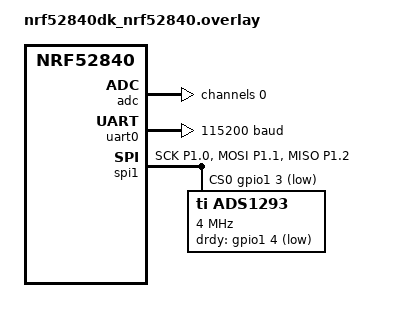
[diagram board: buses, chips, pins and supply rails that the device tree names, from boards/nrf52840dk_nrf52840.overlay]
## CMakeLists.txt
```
#
# Copyright (c) 2018 Nordic Semiconductor
#
# SPDX-License-Identifier: LicenseRef-Nordic-5-Clause
#
cmake_minimum_required(VERSION 3.20.0)

find_package(Zephyr REQUIRED HINTS $ENV{ZEPHYR_BASE})
project(NONE)

# NORDIC SDK APP START
target_sources(app PRIVATE
  src/main.c
  src/stream.c
  src/adc_sample.c
  src/ads1293.c
)

# NORDIC SDK APP END
```

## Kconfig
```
#
# Copyright (c) 2018 Nordic Semiconductor
#
# SPDX-License-Identifier: LicenseRef-Nordic-5-Clause
#

source "Kconfig.zephyr"

menu "Nordic UART BLE GATT service sample"

config BT_NUS_THREAD_STACK_SIZE
	int "Thread stack size"
	default 1024
	help
	  Stack size used in each of the two threads

config BT_NUS_UART_BUFFER_SIZE
	int "UART payload buffer element size"
	default 40
	help
	  Size of the payload buffer in each RX and TX FIFO element

config BT_NUS_SECURITY_ENABLED
	bool "Security"
	default y
	select BT_SMP
	help
	  Enable Bluetooth LE security for the UART service

config BT_NUS_UART_RX_WAIT_TIME
	int "Timeout for UART RX complete event"
	default 50000
	help
	  Wait for RX complete event time in microseconds

# SETTINGS/ZMS/NVS are upstream Zephyr symbols: enable via prj.conf, not here.


config WALKEEG_USE_ADS1293
	bool "Use TI ADS1293 3-channel ECG AFE (SPI) instead of AD8232"
	default y
	help
	  Streams 3 ECG leads (Lead I/II/III, 24-bit) from the TI
	  ADS1293 over SPI1. ODR is selected at runtime and mapped to the
	  nearest hardware rate (533/1067/2133/4267 sps). The AD8232 SAADC
	  path stays compiled in but is not sampled. Requires the ads1293
	  SPI node in the board overlay (already present for nrf52840dk).
	  Set to n to go back to AD8232.

config WALKEEG_DUAL_FRONTEND
	bool "Run AD8232 (SAADC) and ADS1293 (SPI) at the same time"
	depends on WALKEEG_USE_ADS1293
	default n
	help
	  Both front-ends are plugged into the same board:
	    frame CH0     = AD8232 OUT via SAADC (AIN0 / P0.02)
	    frame CH1..CH2 = ADS1293 ECG channel 1 and 2
	  The AD8232 runs at the runtime stream rate (SET_RATE); the ADS1293
	  is programmed to the nearest ODR (533/1067/2133/4267) and its samples
	  are held between DRDY events, so CH1/CH2 step at the ADS1293 ODR.

endmenu
```

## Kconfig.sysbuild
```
#
# Copyright (c) 2023 Nordic Semiconductor
#
# SPDX-License-Identifier: LicenseRef-Nordic-5-Clause
#

config PARTITION_MANAGER
	default y if BOARD_THINGY53

config MERGED_HEX_FILES
	bool
	default y if !SOC_SERIES_NRF54H

config NRF_DEFAULT_IPC_RADIO
	default y

config NETCORE_IPC_RADIO_BT_HCI_IPC
	default y

source "share/sysbuild/Kconfig"
```

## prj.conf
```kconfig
#
# Copyright (c) 2018 Nordic Semiconductor
#
# SPDX-License-Identifier: LicenseRef-Nordic-5-Clause
#

# Enable the UART driver
CONFIG_UART_ASYNC_API=y
CONFIG_UART_ASYNC_ADAPTER=y
CONFIG_UART_INTERRUPT_DRIVEN=y
CONFIG_SERIAL=y
CONFIG_UART_LINE_CTRL=n

# ADC for AD8232 ECG sampling
CONFIG_ADC=y

# SPI for TI ADS1293 ECG AFE (optional; used when CONFIG_WALKEEG_USE_ADS1293=y)
CONFIG_SPI=y

CONFIG_GPIO=y

# NUS uses uart0 for BLE bridge; disable console on same UART
CONFIG_CONSOLE=n
CONFIG_UART_CONSOLE=n

# No pairing required for NUS during bring-up / streaming
# (NCS v3.2.x has no BT_NUS_SECURITY_ENABLED; auth option is BT_NUS_AUTHEN)

# Larger heap for streaming buffers
CONFIG_HEAP_MEM_POOL_SIZE=16384

CONFIG_BT=y
CONFIG_BT_PERIPHERAL=y
CONFIG_BT_DEVICE_NAME="WalkEEG"
CONFIG_BT_MAX_CONN=1
CONFIG_BT_MAX_PAIRED=1

# Enable the NUS service
CONFIG_BT_NUS=y

# Allow peripheral to initiate ATT MTU exchange
CONFIG_BT_GATT_CLIENT=y

# Enable bonding / settings
CONFIG_BT_SETTINGS=y
CONFIG_SETTINGS=y
CONFIG_FLASH=y
CONFIG_FLASH_PAGE_LAYOUT=y
CONFIG_FLASH_MAP=y

# DK LED and Buttons
CONFIG_DK_LIBRARY=y

CONFIG_SYSTEM_WORKQUEUE_STACK_SIZE=4096

# Logger via RTT
CONFIG_LOG=y
# CONFIG_LOG_MODE_IMMEDIATE=y
CONFIG_USE_SEGGER_RTT=y
CONFIG_LOG_BACKEND_RTT=y
CONFIG_LOG_BACKEND_UART=n
CONFIG_LOG_PRINTK=n
CONFIG_LOG_DEFAULT_LEVEL=3

# --- WalkEEG high-throughput BLE ---
# ATT payload ~495 with L2CAP MTU 498; enough for N=20 frames (326 B)
CONFIG_BT_L2CAP_TX_MTU=498
CONFIG_BT_BUF_ACL_RX_SIZE=502
CONFIG_BT_BUF_ACL_TX_SIZE=502
CONFIG_BT_BUF_ACL_TX_COUNT=10
CONFIG_BT_BUF_EVT_RX_COUNT=12
CONFIG_BT_CTLR_DATA_LENGTH_MAX=251
CONFIG_BT_USER_DATA_LEN_UPDATE=y
CONFIG_BT_PHY_UPDATE=y
CONFIG_BT_USER_PHY_UPDATE=y
CONFIG_BT_CTLR_PHY_2M=y
CONFIG_BT_AUTO_PHY_UPDATE=y
# CONFIG_BT_AUTO_PHY_PERIPHERAL_2M is not available in NCS v3.2.x
CONFIG_BT_GAP_PERIPHERAL_PREF_PARAMS=y

# Prefer short connection interval (units of 1.25 ms: 6=7.5ms, 12=15ms)
CONFIG_BT_PERIPHERAL_PREF_MIN_INT=6
CONFIG_BT_PERIPHERAL_PREF_MAX_INT=12
CONFIG_BT_PERIPHERAL_PREF_LATENCY=0
CONFIG_BT_PERIPHERAL_PREF_TIMEOUT=400

# Extra TX buffers for Notify burst
CONFIG_BT_CONN_TX_MAX=10
CONFIG_BT_L2CAP_TX_BUF_COUNT=10

# 500 Hz stream: 2 ms period = 2 ticks; avoid coarse default tick
CONFIG_SYS_CLOCK_TICKS_PER_SEC=8000
CONFIG_SETTINGS=y

# Dual front-end: CH0 = AD8232 (SAADC), CH1/CH2 = ADS1293 (SPI1)
CONFIG_WALKEEG_USE_ADS1293=y
CONFIG_WALKEEG_DUAL_FRONTEND=n

# BLE stacks (default long-WQ stack overflowed after advertising)
CONFIG_BT_LONG_WQ_STACK_SIZE=4096
CONFIG_BT_RX_STACK_SIZE=4096
CONFIG_LOG_BUFFER_SIZE=4096
CONFIG_SEGGER_RTT_BUFFER_SIZE_UP=4096
```

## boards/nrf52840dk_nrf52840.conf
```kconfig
# No DTR wait; USB-TTL on P0.12/P0.13
CONFIG_UART_LINE_CTRL=n
```

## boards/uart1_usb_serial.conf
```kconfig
# Use external USB-serial on Arduino D0/D1 instead of J-Link COM6
CONFIG_UART_LINE_CTRL=n
```

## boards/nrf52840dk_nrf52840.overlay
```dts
/*
 * NUS physical UART moved to free pins on the P12 header (avoiding P0.06/P0.08 commonly used by the main board/module)
 *
 *   P12 Pin25 = P0.13 = UART TX (transmitted by the 52840)
 *   P12 Pin26 = P0.12 = UART RX (received by the 52840)
 *
 * USB-TTL crossover wiring:
 *   USB-TTL RX  -> P0.13 (TX)
 *   USB-TTL TX  -> P0.12 (RX)
 *   USB-TTL GND -> GND (common ground is mandatory)
 *   Baud rate 115200 8N1
 *
 * Notes:
 * - Phone <-> 52840 goes over Bluetooth NUS (wireless) and does not use these UART pins
 * - PC serial terminal <-> 52840 goes over USB-TTL + P0.12/P0.13
 * - The main board's built-in COM port (J-Link CDC / CH340) still uses the default pins and cannot see this UART
 *
 * On the official DK, P0.13=LED1 and P0.12=Button2; they must be disabled so they do not contend with the UART pins.
 */

/ {
	chosen {
		nordic,nus-uart = &uart0;
	};
};

/* AD8232 ECG channel: AIN0 = P0.02 (P13 pin 8), gain 1/6 -> 0..3.6 V */
&adc {
	#address-cells = <1>;
	#size-cells = <0>;

	channel@0 {
		reg = <0>;
		zephyr,gain = "ADC_GAIN_1_6";
		zephyr,reference = "ADC_REF_INTERNAL";
		zephyr,acquisition-time = <ADC_ACQ_TIME_DEFAULT>;
		zephyr,input-positive = <NRF_SAADC_AIN0>; /* P0.02 */
	};
};

&button1 {
	status = "disabled";
};

&led0 {
	status = "disabled";
};

&pinctrl {
	uart0_default: uart0_default {
		group1 {
			psels = <NRF_PSEL(UART_TX, 0, 13)>;
		};
		group2 {
			psels = <NRF_PSEL(UART_RX, 0, 12)>;
			bias-pull-up;
		};
	};

	uart0_sleep: uart0_sleep {
		group1 {
			psels = <NRF_PSEL(UART_TX, 0, 13)>,
				<NRF_PSEL(UART_RX, 0, 12)>;
			low-power-enable;
		};
		/delete-node/ group2;
	};
};

&uart0 {
	status = "okay";
	current-speed = <115200>;
};

/*
 * TI ADS1293 3-channel ECG AFE (SPI1).
 *
 *   SCLK  P1.00  (SPIM1 SCK)      -> ADS1293 SCLK
 *   MOSI  P1.01  (SPIM1 MOSI)     -> ADS1293 SDI
 *   MISO  P1.02  (SPIM1 MISO)     <- ADS1293 SDO
 *   CS    P1.03  (GPIO, act-low)  -> ADS1293 CSB
 *   DRDY  P1.04  (GPIO input)     <- ADS1293 DRDYB (data ready)
 *   RESET P1.05  (GPIO, act-low)  -> ADS1293 RSTB (optional)
 *
 * These pins do NOT overlap the AD8232 interface (P0.02 / P1.13-15)
 * or the UART (P0.12 / P0.13). AD8232 nodes above are left untouched.
 */
&pinctrl {
	ads1293_spi_default: ads1293_spi_default {
		group1 {
			psels = <NRF_PSEL(SPIM_SCK, 1, 0)>,
				<NRF_PSEL(SPIM_MOSI, 1, 1)>,
				<NRF_PSEL(SPIM_MISO, 1, 2)>;
		};
	};

	ads1293_spi_sleep: ads1293_spi_sleep {
		group1 {
			psels = <NRF_PSEL(SPIM_SCK, 1, 0)>,
				<NRF_PSEL(SPIM_MOSI, 1, 1)>,
				<NRF_PSEL(SPIM_MISO, 1, 2)>;
			low-power-enable;
		};
	};
};

&spi1 {
	status = "okay";
	pinctrl-0 = <&ads1293_spi_default>;
	pinctrl-1 = <&ads1293_spi_sleep>;
	pinctrl-names = "default", "sleep";
	/* CSB must be attached to the SPI controller node; this is required by Zephyr's cs-gpios convention */
	cs-gpios = <&gpio1 3 GPIO_ACTIVE_LOW>;

	ads1293: ads1293@0 {
		compatible = "ti,ads1293";
		reg = <0>;
		spi-max-frequency = <4000000>;
		drdy-gpios = <&gpio1 4 GPIO_ACTIVE_LOW>;
		/* CJMCU-1293 has no RESET pin; the driver uses CONFIG=0 soft reset. */
	};
};
```

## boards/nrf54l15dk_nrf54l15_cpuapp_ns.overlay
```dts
/*
 * Copyright (c) 2026 Nordic Semiconductor ASA
 *
 * SPDX-License-Identifier: LicenseRef-Nordic-5-Clause
 *
 * nRF54L15-DK (PCA10156) adaptation for the WalkEEG NUS ECG stream firmware.
 *
 * Build target (NCS v3.2.x):
 *   west build -b nrf54l15dk/nrf54l15/cpuapp_ns --sysbuild -d build-nrf54l15
 *
 * This overlay extends the default RRAM partition layout (TF-M + non-secure
 * app) with:
 *   1. nordic,nus-uart chosen -> uart20 (DK VCOM, P1.04/P1.05)
 *   2. ADC channel AIN4 = P1.11 (free pin on the "PORT P1" expansion header)
 *   3. walkeeg,ecg-pins node: AD8232 lead-off / SDN GPIOs
 *      (occupies SW0 = P1.13 and LED3 = P1.14; see comment below for
 *       alternative wiring using UART20 RTS/CTS)
 *   4. Explicit status = "okay" for adc and GPIO ports (disabled by default
 *      in the nRF54L15 SoC dtsi)
 */

/delete-node/ &slot0_partition;
/delete-node/ &storage_partition;
/delete-node/ &slot0_ns_partition;
/delete-node/ &tfm_its_partition;
/delete-node/ &tfm_otp_partition;
/delete-node/ &tfm_ps_partition;

/ {
	chosen {
		/* NUS bridge UART = DK VCOM (UART20 on P1.04/P1.05).
		 * main.c requires this chosen (or zephyr,shell-uart) to build. */
		nordic,nus-uart = &uart20;
	};

	/* AD8232 ECG wiring on the DK "PORT P1" expansion header.
	 * Default (option A): OUTPUT -> P1.11 (AIN4), LO+ -> P1.12,
	 *                     LO- -> P1.14 (LED3), SDN -> P1.13 (SW0).
	 * Option B (keep buttons/LED): move LO-/SDN to P1.06/P1.07 and drop
	 * UART20 RTS/CTS (edit uart20 pinctrl in the board dtsi).
	 * NOTE: exact pins still need hardware verification. */
	walkeeg_ecg: walkeeg-ecg {
		compatible = "walkeeg,ecg-pins";
		io-channels = <&adc 0>;
		lo-plus-gpios  = <&gpio1 12 GPIO_PULL_UP>;      /* P1.12 */
		lo-minus-gpios = <&gpio1 14 GPIO_PULL_UP>;      /* P1.14 (LED3) */
		sdn-gpios      = <&gpio1 13 GPIO_ACTIVE_HIGH>;  /* P1.13 (SW0) */
	};
};

/* AD8232 ECG channel: AIN4 = P1.11 (free pin on the expansion header).
 * gain 1/4 + internal reference gives ~3.6 V full scale if the internal
 * reference is 0.9 V (verify against the nRF54L15 PS; adjust if needed). */
&adc {
	status = "okay";
	#address-cells = <1>;
	#size-cells = <0>;

	channel@0 {
		reg = <0>;
		zephyr,gain = "ADC_GAIN_1_4";
		zephyr,reference = "ADC_REF_INTERNAL";
		zephyr,acquisition-time = <ADC_ACQ_TIME_DEFAULT>;
		zephyr,input-positive = <NRF_SAADC_AIN4>; /* P1.11 */
	};
};

/* nRF54L15 GPIO ports are disabled by default in the SoC dtsi;
 * the DK needs gpio0/1/2 (LEDs, buttons, expansion header). */
&gpio0 {
	status = "okay";
};

&gpio1 {
	status = "okay";
};

&gpio2 {
	status = "okay";
};

/* Pins taken over by the ECG hookup: LED3 = P1.14 (LO-), SW0 = P1.13 (SDN). */
&led3 {
	status = "disabled";
};

&button0 {
	status = "disabled";
};

&cpuapp_rram {
	partitions {
		slot0_s_partition: partition@0 {
			compatible = "zephyr,mapped-partition";
			label = "image-0-secure";
			reg = <0x0 0x40000>;
		};

		tfm_storage_partition: partition@40000 {
			compatible = "zephyr,mapped-partition";
			label = "tfm-storage";
			reg = <0x40000 DT_SIZE_K(40)>;
			ranges = <0x0 0x40000 DT_SIZE_K(40)>;
			#address-cells = <1>;
			#size-cells = <1>;

			tfm_its_partition: partition@0 {
				compatible = "zephyr,mapped-partition";
				label = "tfm-its";
				reg = <0x0 DT_SIZE_K(16)>;
			};

			tfm_otp_partition: partition@4000 {
				compatible = "zephyr,mapped-partition";
				label = "tfm-otp";
				reg = <0x4000 DT_SIZE_K(8)>;
			};

			tfm_ps_partition: partition@6000 {
				compatible = "zephyr,mapped-partition";
				label = "tfm-ps";
				reg = <0x6000 DT_SIZE_K(16)>;
			};
		};

		slot0_ns_partition: partition@4a000 {
			compatible = "zephyr,mapped-partition";
			label = "image-0-nonsecure";
			reg = <0x4a000 0x131000>;
		};

		nonsecure_storage: partition@17b000 {
			compatible = "zephyr,mapped-partition";
			label = "nonsecure-storage";
			reg = <0x17b000 DT_SIZE_K(8)>;
			ranges = <0x0 0x17b000 DT_SIZE_K(8)>;
			#address-cells = <1>;
			#size-cells = <1>;

			storage_partition: partition@0 {
				compatible = "zephyr,mapped-partition";
				label = "storage";
				reg = <0x0 DT_SIZE_K(8)>;
			};
		};
	};
};
```

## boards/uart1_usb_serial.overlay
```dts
/*
 * Optional: use Arduino header UART1 + external USB-serial adapter (CP2102/CH340)
 * when onboard J-Link VCOM (COM6) shows nothing in PuTTY.
 *
 * Wiring (nRF52840 DK Arduino header):
 *   Adapter TX  -> DK pin D0 (P0.29 RX)
 *   Adapter RX  -> DK pin D1 (P0.31 TX)
 *   GND         -> GND
 *
 * Then build with:
 *   west build -b nrf52840dk/nrf52840 -d build -- -DEXTRA_CONF_FILE=boards/uart1_usb_serial.conf
 */

/ {
	chosen {
		zephyr,shell-uart = &uart1;
	};
};

&uart1 {
	status = "okay";
};
```

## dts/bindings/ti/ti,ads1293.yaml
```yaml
description: TI ADS1293 3-channel, 24-bit ECG analog front-end (SPI)

compatible: "ti,ads1293"

include: [spi-device.yaml]

properties:
  cs-gpios:
    type: phandle-array
    required: false
    description: |
      Optional explicit chip-select GPIO. When present, the driver asserts it
      manually and the SPI controller runs without hardware CS.

  drdy-gpios:
    type: phandle-array
    required: true
    description: |
      Data-ready output (active low). Asserted when a new sample is
      available; deasserted on the 14th rising SCLK edge of a read.

  reset-gpios:
    type: phandle-array
    required: false
    description: Active-low hardware reset input (optional).
```

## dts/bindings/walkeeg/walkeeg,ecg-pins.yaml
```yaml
description: WalkEEG AD8232 ECG 连接引脚（ADC 通道 + 导联脱落 GPIO + SDN）

compatible: "walkeeg,ecg-pins"

properties:
  io-channels:
    type: phandle-array
    required: true
    description: 指向 &adc 及其通道序号（channel@N 定义 gain/ref/输入脚）

  lo-plus-gpios:
    type: phandle-array
    required: true
    description: LO+ 导联检测输入（上拉）

  lo-minus-gpios:
    type: phandle-array
    required: true
    description: LO- 导联检测输入（上拉）

  sdn-gpios:
    type: phandle-array
    required: true
    description: SDN 关断控制（输出高 = 使能 AD8232）
```

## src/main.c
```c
/*
 * Copyright (c) 2018 Nordic Semiconductor ASA
 *
 * SPDX-License-Identifier: LicenseRef-Nordic-5-Clause
 */

/** @file
 *  @brief Nordic UART Bridge Service (NUS) sample
 */
#ifdef CONFIG_UART_ASYNC_ADAPTER
#include <uart_async_adapter.h>
#endif

#include <zephyr/types.h>
#include <zephyr/kernel.h>
#include <zephyr/drivers/uart.h>

#include <zephyr/device.h>
#include <zephyr/devicetree.h>
#include <soc.h>

#include <zephyr/bluetooth/bluetooth.h>
#include <zephyr/bluetooth/uuid.h>
#include <zephyr/bluetooth/gatt.h>
#include <zephyr/bluetooth/hci.h>

#include <bluetooth/services/nus.h>

#include <dk_buttons_and_leds.h>

#include <zephyr/settings/settings.h>

#include <stdio.h>
#include <string.h>
#include <stdlib.h>

#include <zephyr/logging/log.h>

#include "stream.h"
#include "adc_sample.h"
#include "ads1293.h"

/* Define log module name */	
#define LOG_MODULE_NAME peripheral_uart   // Define log module name		
LOG_MODULE_REGISTER(LOG_MODULE_NAME);   // Register log module

/* Zephyr 4.x (NCS 3.x) removed BT_LE_ADV_CONN; use equivalent fast-connection advertising parameters for compatibility */
#ifndef BT_LE_ADV_CONN
#define BT_LE_ADV_CONN BT_LE_ADV_CONN_FAST_1
#endif

#define STACKSIZE CONFIG_BT_NUS_THREAD_STACK_SIZE  //  Define stack size
#define PRIORITY 7  // Define priority

#define DEVICE_NAME CONFIG_BT_DEVICE_NAME  // Define device name
#define DEVICE_NAME_LEN	(sizeof(DEVICE_NAME) - 1)  // Define device name length

/* LED1/P0.13 used as UART TX; use LED2/LED3 instead */
#define RUN_STATUS_LED DK_LED2   // Define run-status LED (blinks once per second = program is running)
#define RUN_LED_BLINK_INTERVAL 1000   // Define run LED blink interval

#define CON_STATUS_LED DK_LED3  // Define connection-status LED (lit while Bluetooth is connected)

#define KEY_PASSKEY_ACCEPT DK_BTN1_MSK  // Define passkey accept button
#define KEY_PASSKEY_REJECT DK_BTN2_MSK  // Define passkey reject button

#define UART_BUF_SIZE CONFIG_BT_NUS_UART_BUFFER_SIZE  // Define UART buffer size
#define UART_WAIT_FOR_BUF_DELAY K_MSEC(50)  // Define UART buffer-wait delay
#define UART_WAIT_FOR_RX CONFIG_BT_NUS_UART_RX_WAIT_TIME  // Define UART receive wait time	

/* NCS v3.2.x removed the NUS Kconfig options this sample used;
 * keep fixed fallbacks so the code still builds on the current SDK. */
#ifndef CONFIG_BT_NUS_THREAD_STACK_SIZE
#define CONFIG_BT_NUS_THREAD_STACK_SIZE 2048
#endif
#ifndef CONFIG_BT_NUS_UART_BUFFER_SIZE
#define CONFIG_BT_NUS_UART_BUFFER_SIZE 256
#endif
#ifndef CONFIG_BT_NUS_UART_RX_WAIT_TIME
#define CONFIG_BT_NUS_UART_RX_WAIT_TIME 50
#endif

static K_SEM_DEFINE(ble_init_ok, 0, 1);  // Define BLE init semaphore	

static struct bt_conn *current_conn;  // Define current connection
static struct bt_conn *auth_conn;  // Define authenticated connection
static struct k_work adv_work;  // Define advertising work item

#if DT_HAS_CHOSEN(nordic_nus_uart)
#define NUS_UART_NODE DT_CHOSEN(nordic_nus_uart)  // Define NUS UART node
#elif DT_HAS_CHOSEN(zephyr_shell_uart)
#define NUS_UART_NODE DT_CHOSEN(zephyr_shell_uart)  // Define NUS UART node	
#else
#error "No NUS UART: add chosen 'nordic,nus-uart' to devicetree (e.g. in a board overlay)."
#endif  // Define NUS UART node
static const struct device *uart = DEVICE_DT_GET(NUS_UART_NODE);  // Define UART device
static struct k_work_delayable uart_work;  // Define UART work item

// Define UART data structure
struct uart_data_t {
	void *fifo_reserved;
	uint8_t data[UART_BUF_SIZE];
	uint16_t len;
};

// Define UART FIFO data structure
static K_FIFO_DEFINE(fifo_uart_tx_data);
static K_FIFO_DEFINE(fifo_uart_rx_data);

// Define UART heartbeat function
static void uart_heartbeat_fn(struct k_timer *timer)
{
	struct uart_data_t *tx;
	static const char msg[] = "UART heartbeat\r\n";

	ARG_UNUSED(timer);

	if (!device_is_ready(uart)) {
		return;
	}

	tx = k_malloc(sizeof(*tx));
	if (!tx) {
		return;
	}

	tx->len = sizeof(msg) - 1;
	memcpy(tx->data, msg, tx->len);

	if (uart_tx(uart, tx->data, tx->len, SYS_FOREVER_MS)) {
		k_free(tx);
	}
}

// Define UART heartbeat timer
K_TIMER_DEFINE(uart_heartbeat_timer, uart_heartbeat_fn, NULL);

// Define Bluetooth advertising data
static const struct bt_data ad[] = {
	BT_DATA_BYTES(BT_DATA_FLAGS, (BT_LE_AD_GENERAL | BT_LE_AD_NO_BREDR)),
	BT_DATA(BT_DATA_NAME_COMPLETE, DEVICE_NAME, DEVICE_NAME_LEN),
};

// Define Bluetooth service data
static const struct bt_data sd[] = {
	BT_DATA_BYTES(BT_DATA_UUID128_ALL, BT_UUID_NUS_VAL),
};

// Define UART async adapter
#ifdef CONFIG_UART_ASYNC_ADAPTER
UART_ASYNC_ADAPTER_INST_DEFINE(async_adapter);
#else
#define async_adapter NULL
#endif

// Define UART callback function
static void uart_cb(const struct device *dev, struct uart_event *evt, void *user_data)
{
	ARG_UNUSED(dev);

	static size_t aborted_len;
	struct uart_data_t *buf;
	static uint8_t *aborted_buf;
	static bool disable_req;

	switch (evt->type) {
	case UART_TX_DONE:
		LOG_INF("UART TX done, %u bytes", evt->data.tx.len);
		if ((evt->data.tx.len == 0) ||
		    (!evt->data.tx.buf)) {
			return;
		}

		if (aborted_buf) {
			buf = CONTAINER_OF(aborted_buf, struct uart_data_t,
					   data[0]);
			aborted_buf = NULL;
			aborted_len = 0;
		} else {
			buf = CONTAINER_OF(evt->data.tx.buf, struct uart_data_t,
					   data[0]);
		}

		k_free(buf);

		buf = k_fifo_get(&fifo_uart_tx_data, K_NO_WAIT);
		if (!buf) {
			return;
		}

		if (uart_tx(uart, buf->data, buf->len, SYS_FOREVER_MS)) {
			LOG_WRN("Failed to send data over UART");
		}

		break;

	case UART_RX_RDY:
		LOG_DBG("UART_RX_RDY");
		buf = CONTAINER_OF(evt->data.rx.buf, struct uart_data_t, data[0]);
		buf->len += evt->data.rx.len;

		if (disable_req) {
			return;
		}

		if ((evt->data.rx.buf[buf->len - 1] == '\n') ||
		    (evt->data.rx.buf[buf->len - 1] == '\r')) {
			disable_req = true;
			uart_rx_disable(uart);
		}

		break;

	case UART_RX_DISABLED:
		LOG_DBG("UART_RX_DISABLED");
		disable_req = false;

		buf = k_malloc(sizeof(*buf));
		if (buf) {
			buf->len = 0;
		} else {
			LOG_WRN("Not able to allocate UART receive buffer");
			k_work_reschedule(&uart_work, UART_WAIT_FOR_BUF_DELAY);
			return;
		}

		uart_rx_enable(uart, buf->data, sizeof(buf->data),
			       UART_WAIT_FOR_RX);

		break;

	case UART_RX_BUF_REQUEST:
		LOG_DBG("UART_RX_BUF_REQUEST");
		buf = k_malloc(sizeof(*buf));
		if (buf) {
			buf->len = 0;
			uart_rx_buf_rsp(uart, buf->data, sizeof(buf->data));
		} else {
			LOG_WRN("Not able to allocate UART receive buffer");
		}

		break;

	case UART_RX_BUF_RELEASED:
		LOG_DBG("UART_RX_BUF_RELEASED");
		buf = CONTAINER_OF(evt->data.rx_buf.buf, struct uart_data_t,
				   data[0]);

		if (buf->len > 0) {
			LOG_INF("UART RX from COM: %.*s", buf->len, buf->data);
			k_fifo_put(&fifo_uart_rx_data, buf);
		} else {
			k_free(buf);
		}

		break;

	case UART_TX_ABORTED:
		LOG_DBG("UART_TX_ABORTED");
		if (!aborted_buf) {
			aborted_buf = (uint8_t *)evt->data.tx.buf;
		}

		aborted_len += evt->data.tx.len;
		buf = CONTAINER_OF((void *)aborted_buf, struct uart_data_t,
				   data);

		uart_tx(uart, &buf->data[aborted_len],
			buf->len - aborted_len, SYS_FOREVER_MS);

		break;

	default:
		break;
	}
}

static void uart_work_handler(struct k_work *item)
{
	struct uart_data_t *buf;

	buf = k_malloc(sizeof(*buf));
	if (buf) {
		buf->len = 0;
	} else {
		LOG_WRN("Not able to allocate UART receive buffer");
		k_work_reschedule(&uart_work, UART_WAIT_FOR_BUF_DELAY);
		return;
	}

	uart_rx_enable(uart, buf->data, sizeof(buf->data), UART_WAIT_FOR_RX);
}

static bool uart_test_async_api(const struct device *dev)
{
	const struct uart_driver_api *api =
			(const struct uart_driver_api *)dev->api;

	return (api->callback_set != NULL);
}

static int uart_init(void)
{
	int err;
	int pos;
	struct uart_data_t *rx;
	struct uart_data_t *tx;

	if (!device_is_ready(uart)) {
		return -ENODEV;
	}

	rx = k_malloc(sizeof(*rx));
	if (rx) {
		rx->len = 0;
	} else {
		return -ENOMEM;
	}

	k_work_init_delayable(&uart_work, uart_work_handler);


	if (IS_ENABLED(CONFIG_UART_ASYNC_ADAPTER) && !uart_test_async_api(uart)) {
		/* Implement API adapter */
		uart_async_adapter_init(async_adapter, uart);
		uart = async_adapter;
	}

	err = uart_callback_set(uart, uart_cb, NULL);
	if (err) {
		k_free(rx);
		LOG_ERR("Cannot initialize UART callback");
		return err;
	}

	if (IS_ENABLED(CONFIG_UART_LINE_CTRL)) {
		LOG_INF("Wait for DTR");
		while (true) {
			uint32_t dtr = 0;

			uart_line_ctrl_get(uart, UART_LINE_CTRL_DTR, &dtr);
			if (dtr) {
				break;
			}
			/* Give CPU resources to low priority threads. */
			k_sleep(K_MSEC(100));
		}
		LOG_INF("DTR set, COM terminal ready");
		err = uart_line_ctrl_set(uart, UART_LINE_CTRL_DCD, 1);
		if (err) {
			LOG_WRN("Failed to set DCD, ret code %d", err);
		}
		err = uart_line_ctrl_set(uart, UART_LINE_CTRL_DSR, 1);
		if (err) {
			LOG_WRN("Failed to set DSR, ret code %d", err);
		}
	}

	tx = k_malloc(sizeof(*tx));

	if (tx) {
		pos = snprintf(tx->data, sizeof(tx->data),
			       "Starting Nordic UART service sample\r\n");

		if ((pos < 0) || (pos >= sizeof(tx->data))) {
			k_free(rx);
			k_free(tx);
			LOG_ERR("snprintf returned %d", pos);
			return -ENOMEM;
		}

		tx->len = pos;
	} else {
		k_free(rx);
		return -ENOMEM;
	}

	err = uart_tx(uart, tx->data, tx->len, SYS_FOREVER_MS);
	if (err) {
		k_free(rx);
		k_free(tx);
		LOG_ERR("Cannot display welcome message (err: %d)", err);
		return err;
	}

	LOG_INF("UART welcome queued (%d bytes); open USB-TTL COM @ 115200 on P0.13/P0.12",
		tx->len);

	err = uart_rx_enable(uart, rx->data, sizeof(rx->data), UART_WAIT_FOR_RX);
	if (err) {
		LOG_ERR("Cannot enable uart reception (err: %d)", err);
		/* Free the rx buffer only because the tx buffer will be handled in the callback */
		k_free(rx);
	}

	return err;
}

/* ===== Diagnostics: independent of the logging system, reports boot progress via LED blink count ===== */
static void diag_blink(int times)
{
	for (int i = 0; i < times; i++) {
		dk_set_led_on(RUN_STATUS_LED);
		k_sleep(K_MSEC(120));
		dk_set_led_off(RUN_STATUS_LED);
		k_sleep(K_MSEC(250));
	}
	k_sleep(K_MSEC(600));
}

static void adv_work_handler(struct k_work *work)
{
	int err = bt_le_adv_start(BT_LE_ADV_CONN, ad, ARRAY_SIZE(ad), sd, ARRAY_SIZE(sd));

	if (err) {
		LOG_ERR("[diag] adv_start FAILED err=%d (0x%x)", err, (unsigned)err);
		diag_blink(8);        /* [8] adv_start FAILED */
	}

	LOG_INF("[diag] adv_start OK");
	diag_blink(4);            /* [4] adv_start OK */
}

static void advertising_start(void)
{
	k_work_submit(&adv_work);
}

static void connected(struct bt_conn *conn, uint8_t err)
{
	char addr[BT_ADDR_LE_STR_LEN];

	if (err) {
		LOG_ERR("Connection failed, err 0x%02x %s", err, "");
		return;
	}

	bt_addr_le_to_str(bt_conn_get_dst(conn), addr, sizeof(addr));
	LOG_INF("Connected %s", addr);

	current_conn = bt_conn_ref(conn);

	dk_set_led_on(CON_STATUS_LED);

	walkeeg_stream_on_connected(conn);

	/* Nudge the serial terminal so PuTTY shows something on connect */
	if (device_is_ready(uart)) {
		static const char connected_msg[] = "BLE connected\r\n";
		struct uart_data_t *tx = k_malloc(sizeof(*tx));

		if (tx) {
			tx->len = sizeof(connected_msg) - 1;
			memcpy(tx->data, connected_msg, tx->len);
			if (uart_tx(uart, tx->data, tx->len, SYS_FOREVER_MS)) {
				LOG_WRN("Failed to send connect banner over UART");
				k_free(tx);
			}
		}
	}
}

static void disconnected(struct bt_conn *conn, uint8_t reason)
{
	char addr[BT_ADDR_LE_STR_LEN];

	bt_addr_le_to_str(bt_conn_get_dst(conn), addr, sizeof(addr));

	LOG_INF("Disconnected: %s, reason 0x%02x %s", addr, reason, "");

	if (auth_conn) {
		bt_conn_unref(auth_conn);
		auth_conn = NULL;
	}

	walkeeg_stream_on_disconnected();

	if (current_conn) {
		bt_conn_unref(current_conn);
		current_conn = NULL;
		dk_set_led_off(CON_STATUS_LED);
	}

	/* Zephyr 4.x removed the conn_cb.recycled hook; restart advertising here
	 * so the device is discoverable again after an App disconnect. */
	advertising_start();
}

static void recycled_cb(void)
{
	LOG_INF("Connection object available from previous conn. Disconnect is complete!");
	advertising_start();
}

#ifdef CONFIG_BT_NUS_SECURITY_ENABLED
static void security_changed(struct bt_conn *conn, bt_security_t level,
			     enum bt_security_err err)
{
	char addr[BT_ADDR_LE_STR_LEN];

	bt_addr_le_to_str(bt_conn_get_dst(conn), addr, sizeof(addr));

	if (!err) {
		LOG_INF("Security changed: %s level %u", addr, level);
	} else {
		LOG_WRN("Security failed: %s level %u err %d %s", addr, level, err,
			"");
	}
}
#endif

BT_CONN_CB_DEFINE(conn_callbacks) = {
	.connected        = connected,
	.disconnected     = disconnected,
#ifdef CONFIG_BT_NUS_SECURITY_ENABLED
	.security_changed = security_changed,
#endif
};

#if defined(CONFIG_BT_NUS_SECURITY_ENABLED)
static void auth_passkey_display(struct bt_conn *conn, unsigned int passkey)
{
	char addr[BT_ADDR_LE_STR_LEN];

	bt_addr_le_to_str(bt_conn_get_dst(conn), addr, sizeof(addr));

	LOG_INF("Passkey for %s: %06u", addr, passkey);
}

static void auth_passkey_confirm(struct bt_conn *conn, unsigned int passkey)
{
	char addr[BT_ADDR_LE_STR_LEN];

	auth_conn = bt_conn_ref(conn);

	bt_addr_le_to_str(bt_conn_get_dst(conn), addr, sizeof(addr));

	LOG_INF("Passkey for %s: %06u", addr, passkey);

	if (IS_ENABLED(CONFIG_SOC_SERIES_NRF54H) || IS_ENABLED(CONFIG_SOC_SERIES_NRF54L)) {
		LOG_INF("Press Button 0 to confirm, Button 1 to reject.");
	} else {
		LOG_INF("Press Button 1 to confirm, Button 2 to reject.");
	}
}


static void auth_cancel(struct bt_conn *conn)
{
	char addr[BT_ADDR_LE_STR_LEN];

	bt_addr_le_to_str(bt_conn_get_dst(conn), addr, sizeof(addr));

	LOG_INF("Pairing cancelled: %s", addr);
}


static void pairing_complete(struct bt_conn *conn, bool bonded)
{
	char addr[BT_ADDR_LE_STR_LEN];

	bt_addr_le_to_str(bt_conn_get_dst(conn), addr, sizeof(addr));

	LOG_INF("Pairing completed: %s, bonded: %d", addr, bonded);
}


static void pairing_failed(struct bt_conn *conn, enum bt_security_err reason)
{
	char addr[BT_ADDR_LE_STR_LEN];

	bt_addr_le_to_str(bt_conn_get_dst(conn), addr, sizeof(addr));

	LOG_INF("Pairing failed conn: %s, reason %d %s", addr, reason,
		"");
}

static struct bt_conn_auth_cb conn_auth_callbacks = {
	.passkey_display = auth_passkey_display,
	.passkey_confirm = auth_passkey_confirm,
	.cancel = auth_cancel,
};

static struct bt_conn_auth_info_cb conn_auth_info_callbacks = {
	.pairing_complete = pairing_complete,
	.pairing_failed = pairing_failed
};
#else
static struct bt_conn_auth_cb conn_auth_callbacks;
static struct bt_conn_auth_info_cb conn_auth_info_callbacks;
#endif

static void bt_receive_cb(struct bt_conn *conn, const uint8_t *const data,
			  uint16_t len)
{
	int err;
	char addr[BT_ADDR_LE_STR_LEN] = {0};

	bt_addr_le_to_str(bt_conn_get_dst(conn), addr, ARRAY_SIZE(addr));

	LOG_INF("Received %u bytes from %s: %.*s", len, addr, len, data);

	/* WalkEMG runtime sample-rate command: "SET_RATE 2000" */
	if (len >= 10 && memcmp(data, "SET_RATE ", 9) == 0) {
		char rate_buf[8] = {0};
		uint16_t n = len - 9;
		if (n >= sizeof(rate_buf)) {
			n = sizeof(rate_buf) - 1;
		}
		memcpy(rate_buf, data + 9, n);
		unsigned long hz = strtoul(rate_buf, NULL, 10);
		int rc = walkeeg_stream_set_rate((uint16_t)hz);
		char reply[32];
		int rlen = snprintk(reply, sizeof(reply), rc == 0 ? "OK %u\n" : "ERR\n",
				    walkeeg_stream_get_rate());
		bt_nus_send(conn, reply, (uint16_t)rlen);
		return;
	}

	for (uint16_t pos = 0; pos != len;) {
		struct uart_data_t *tx = k_malloc(sizeof(*tx));

		if (!tx) {
			LOG_WRN("Not able to allocate UART send data buffer");
			return;
		}

		/* Keep the last byte of TX buffer for potential LF char. */
		size_t tx_data_size = sizeof(tx->data) - 1;

		if ((len - pos) > tx_data_size) {
			tx->len = tx_data_size;
		} else {
			tx->len = (len - pos);
		}

		memcpy(tx->data, &data[pos], tx->len);

		pos += tx->len;

		/* Append the LF character when the CR character triggered
		 * transmission from the peer.
		 */
		if ((pos == len) && (data[len - 1] == '\r')) {
			tx->data[tx->len] = '\n';
			tx->len++;
		}

		err = uart_tx(uart, tx->data, tx->len, SYS_FOREVER_MS);
		if (err) {
			LOG_WRN("uart_tx failed (%d), queued for retry", err);
			k_fifo_put(&fifo_uart_tx_data, tx);
		}
	}
}

static void bt_send_enabled_cb(enum bt_nus_send_status status)
{
	bool enabled = (status == BT_NUS_SEND_STATUS_ENABLED);

	LOG_INF("NUS TX notify %s", enabled ? "enabled" : "disabled");
	walkeeg_stream_set_notify(enabled);
}

static struct bt_nus_cb nus_cb = {
	.received = bt_receive_cb,
	.send_enabled = bt_send_enabled_cb,
};

void error(void)
{
	dk_set_leds_state(DK_ALL_LEDS_MSK, DK_NO_LEDS_MSK);

	while (true) {
		/* Spin for ever */
		k_sleep(K_MSEC(1000));
	}
}

#ifdef CONFIG_BT_NUS_SECURITY_ENABLED
static void num_comp_reply(bool accept)
{
	if (accept) {
		bt_conn_auth_passkey_confirm(auth_conn);
		LOG_INF("Numeric Match, conn %p", (void *)auth_conn);
	} else {
		bt_conn_auth_cancel(auth_conn);
		LOG_INF("Numeric Reject, conn %p", (void *)auth_conn);
	}

	bt_conn_unref(auth_conn);
	auth_conn = NULL;
}

void button_changed(uint32_t button_state, uint32_t has_changed)
{
	uint32_t buttons = button_state & has_changed;

	if (auth_conn) {
		if (buttons & KEY_PASSKEY_ACCEPT) {
			num_comp_reply(true);
		}

		if (buttons & KEY_PASSKEY_REJECT) {
			num_comp_reply(false);
		}
	}
}
#endif /* CONFIG_BT_NUS_SECURITY_ENABLED */

static void configure_gpio(void)
{
	int err;

#ifdef CONFIG_BT_NUS_SECURITY_ENABLED
	err = dk_buttons_init(button_changed);
	if (err) {
		LOG_ERR("Cannot init buttons (err: %d)", err);
	}
#endif /* CONFIG_BT_NUS_SECURITY_ENABLED */

	err = dk_leds_init();
	if (err) {
		LOG_ERR("Cannot init LEDs (err: %d)", err);
	}
}

int main(void)
{
	int blink_status = 0;
	int err = 0;

	configure_gpio(); //Initialize LEDs

	err = uart_init(); //Initialize serial port and send welcome message
	if (err) {
		error();
	}

	if (IS_ENABLED(CONFIG_BT_NUS_SECURITY_ENABLED)) {
		err = bt_conn_auth_cb_register(&conn_auth_callbacks);
		if (err) {
			LOG_ERR("Failed to register authorization callbacks. (err: %d)", err);
			return 0;
		}

		err = bt_conn_auth_info_cb_register(&conn_auth_info_callbacks); 
		if (err) {
			LOG_ERR("Failed to register authorization info callbacks. (err: %d)", err);
			return 0;
		}
	}

	if (IS_ENABLED(CONFIG_SETTINGS)) {
		err = settings_subsys_init();
		if (err) {
			LOG_ERR("settings_subsys_init failed (err: %d)", err);
		}
	}

	err = bt_enable(NULL); //Enable Bluetooth
	if (err) {
		error();
	}

	LOG_INF("Bluetooth initialized");
	diag_blink(1);            /* [1] bt_enable OK */

	k_sem_give(&ble_init_ok);

	if (IS_ENABLED(CONFIG_SETTINGS)) {
		err = settings_load();
		if (err) {
			LOG_ERR("settings_load failed (err: %d)", err);
		}
	}

	err = bt_nus_init(&nus_cb); //Initialize NUS service
	if (err) {
		LOG_ERR("Failed to initialize UART service (err: %d)", err);
		return 0;
	}
	LOG_INF("[diag] bt_nus_init OK");
	diag_blink(2);            /* [2] bt_nus_init OK */

	walkeeg_stream_init();
	LOG_INF("[diag] walkeeg_stream_init done");

#if defined(CONFIG_WALKEEG_DUAL_FRONTEND) && WALKEEG_ADS1293_AVAILABLE
	/* CH0 = AD8232 on SAADC, CH1/CH2 = ADS1293 on SPI1 */
	err = walkeeg_adc_init();
	if (err) {
		LOG_ERR("ADC init failed (err: %d)", err);
	} else {
		LOG_INF("[diag] walkeeg_adc_init OK");
		diag_blink(3);
	}
	err = walkeeg_ads1293_init();
	if (err) {
		LOG_ERR("ADS1293 init failed (err: %d)", err);
	}
#elif WALKEEG_ADS1293_AVAILABLE
	/* CH0/CH1 = ADS1293, CH2 = AD8232 (SAADC @ 2 kHz) */
	err = walkeeg_adc_init();
	if (err) {
		LOG_ERR("ADC init failed (err: %d)", err);
	}
	err = walkeeg_ads1293_init();
	if (err) {
		LOG_ERR("ADS1293 init failed (err: %d)", err);
	} else {
		err = walkeeg_ads1293_set_rate(WALKEEG_DEFAULT_SAMPLE_HZ);
		if (err) {
			LOG_WRN("ADS1293 default rate failed (err: %d)", err);
		}
	}
#else
	err = walkeeg_adc_init();
	if (err) {
		LOG_ERR("ADC init failed (err: %d)", err);
	} else {
		LOG_INF("[diag] walkeeg_adc_init OK");
		diag_blink(3);        /* [3] adc_init OK */
	}
#endif

	k_work_init(&adv_work, adv_work_handler);
	LOG_INF("[diag] submitting adv_work");
	advertising_start();// Start advertising

	/* Flash-complete indication: run LED stays on for 1.5 s (firmware written and booted successfully), then returns to 1 Hz blinking */
	dk_set_led_on(RUN_STATUS_LED);
	k_sleep(K_MSEC(1500));

	/* Slow UART heartbeat so it does not interfere with BLE streaming */
	k_timer_start(&uart_heartbeat_timer, K_SECONDS(10), K_SECONDS(30));

	for (;;) {
		dk_set_led(RUN_STATUS_LED, (++blink_status) % 2);
		k_sleep(K_MSEC(RUN_LED_BLINK_INTERVAL));
	} //Main loop (blink LED)
}

void ble_write_thread(void)
{
	//Wait for BLE initialization to complete
	k_sem_take(&ble_init_ok, K_FOREVER);
	struct uart_data_t nus_data = {
		.len = 0,
	};
    
	// Write thread (receive data)
	for (;;) {
		// Wait for data to send over bluetooth
		struct uart_data_t *buf = k_fifo_get(&fifo_uart_rx_data,
						     K_FOREVER);

		int plen = MIN(sizeof(nus_data.data) - nus_data.len, buf->len);
		int loc = 0;

		while (plen > 0) {
			// Copy data into nus_data.data
			memcpy(&nus_data.data[nus_data.len], &buf->data[loc], plen);
			// Update nus_data.len
			nus_data.len += plen;
			// Update loc
			loc += plen;

			if (nus_data.len >= sizeof(nus_data.data) ||
			   (nus_data.data[nus_data.len - 1] == '\n') ||
			   (nus_data.data[nus_data.len - 1] == '\r')) {
				if (bt_nus_send(NULL, nus_data.data, nus_data.len)) {
					LOG_WRN("Failed to send data over BLE connection");
				}
				nus_data.len = 0;
			}

			plen = MIN(sizeof(nus_data.data), buf->len - loc);
		}

		k_free(buf);
	}
}

K_THREAD_DEFINE(ble_write_thread_id, STACKSIZE, ble_write_thread, NULL, NULL,
		NULL, PRIORITY, 0, 0);
```

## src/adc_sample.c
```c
/*
 * WalkEEG AD8232 ECG sampling over SAADC (nRF52840).
 */

#include "adc_sample.h"

#include <zephyr/kernel.h>
#include <zephyr/device.h>
#include <zephyr/drivers/adc.h>
#include <zephyr/drivers/gpio.h>
#include <zephyr/logging/log.h>
#include <nrfx_saadc.h>
#include <string.h>

LOG_MODULE_REGISTER(walkeeg_adc, LOG_LEVEL_INF);

/* ---- Pin map (Qingfeng nRF52840 board, P13 header) ----
 *  OUTPUT  P13 pin 8  -> P0.02  (AIN0)
 *  LO+     P13 pin 4  -> P1.13
 *  LO-     P13 pin 6  -> P1.15
 *  SDN     P13 pin 5  -> P1.14
 */

#define AIN0_NODE  DT_NODELABEL(adc)
#define ADC_RES   12

#define LO_PLUS_PIN  13
#define LO_MINUS_PIN 15
#define SDN_PIN      14

/* GPIO port for P1.x (second GPIO controller) */
#define GPIO1_NODE  DT_NODELABEL(gpio1)

static const struct device *adc_dev;
static const struct device *gpio1_dev;

/* ADC channel: AIN0 = P0.02, gain 1/6, internal 0.6 V ref (see overlay) */
static const struct adc_channel_cfg adc_cfg = {
	.gain             = ADC_GAIN_1_6,
	.reference        = ADC_REF_INTERNAL,
	.acquisition_time = ADC_ACQ_TIME_DEFAULT,
	.channel_id       = 0,
	.input_positive   = NRF_SAADC_INPUT_AIN0,
};

static int16_t adc_buf;
static struct adc_sequence adc_seq = {
	.channels    = BIT(0),
	.buffer      = &adc_buf,
	.buffer_size = sizeof(adc_buf),
	.resolution  = ADC_RES,
	.oversampling = 2,   /* 4-sample average; enough for 2–4 kSPS */
};

int walkeeg_adc_init(void)
{
	int err;

	adc_dev = DEVICE_DT_GET(AIN0_NODE);
	if (!device_is_ready(adc_dev)) {
		LOG_ERR("ADC device not ready");
		return -ENODEV;
	}

	err = adc_channel_setup(adc_dev, &adc_cfg);
	if (err) {
		LOG_ERR("adc_channel_setup failed: %d", err);
		return err;
	}

	/* GPIO1 for P1.13 / P1.14 / P1.15 */
	gpio1_dev = DEVICE_DT_GET(GPIO1_NODE);
	if (!device_is_ready(gpio1_dev)) {
		LOG_ERR("gpio1 not ready");
		return -ENODEV;
	}

	/* SDN: output high -> AD8232 enabled */
	err = gpio_pin_configure(gpio1_dev, SDN_PIN, GPIO_OUTPUT_ACTIVE);
	if (err) {
		LOG_ERR("SDN config failed: %d", err);
		return err;
	}

	/* LO+/LO-: inputs with pull-up (AD8232 drives low when lead off) */
	err = gpio_pin_configure(gpio1_dev, LO_PLUS_PIN, GPIO_INPUT | GPIO_PULL_UP);
	if (err) {
		LOG_ERR("LO+ config failed: %d", err);
		return err;
	}

	err = gpio_pin_configure(gpio1_dev, LO_MINUS_PIN, GPIO_INPUT | GPIO_PULL_UP);
	if (err) {
		LOG_ERR("LO- config failed: %d", err);
		return err;
	}

	LOG_INF("WalkEEG ADC init OK (AIN0, LO+ P1.13, LO- P1.15, SDN P1.14)");
	return 0;
}

int walkeeg_adc_read(struct walkeeg_adc_sample *s)
{
	int err;

	if (!adc_dev) {
		return -ENODEV;
	}

	err = adc_read(adc_dev, &adc_seq);
	if (err) {
		return err;
	}

	s->value = adc_buf;
	s->lo_plus  = gpio_pin_get(gpio1_dev, LO_PLUS_PIN) > 0;
	s->lo_minus = gpio_pin_get(gpio1_dev, LO_MINUS_PIN) > 0;

	return 0;
}
```

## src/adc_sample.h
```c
/*
 * WalkEEG AD8232 ECG sampling over the nRF SAADC-compatible ADC.
 *
 * Pin map is defined in the board overlay (walkeeg,ecg-pins node):
 *
 *   nRF52840 (青风 board, P13 header):
 *     - AIN0  (P0.02)  : AD8232 OUTPUT  (ECG analog)
 *     - P1.13 (LO+)    : lead-off detect input
 *     - P1.15 (LO-)    : lead-off detect input
 *     - P1.14 (SDN)    : shutdown control (high = running)
 *     ECG signal rides on REFOUT (~VDD/2 = 1.65 V), so single-ended
 *     SAADC with gain 1/6 (0..3.6 V full scale) maps it comfortably.
 *
 *   nRF54L15-DK (expansion header PORT P1) — proposal, verify on HW:
 *     - AIN4  (P1.11)  : AD8232 OUTPUT
 *     - P1.12 (LO+)    : lead-off detect input
 *     - P1.14 (LO-, LED3) : lead-off detect input
 *     - P1.13 (SDN, SW0)  : shutdown control
 *     ADC gain 1/4 + internal reference (~3.6 V full scale if ref = 0.9 V).
 */
#ifndef WALKEEG_ADC_SAMPLE_H_
#define WALKEEG_ADC_SAMPLE_H_

#include <stdbool.h>
#include <stdint.h>

#define WALKEEG_ADC_HZ   500   /* per-channel sample rate */
#define WALKEEG_ADC_GAIN_NUM   1
#define WALKEEG_ADC_GAIN_DEN   6
#define WALKEEG_ADC_REF_MV     600  /* internal 0.6 V reference (nRF52) */

/** One ADC sample + lead-off flags. */
struct walkeeg_adc_sample {
	int16_t value;   /* raw 12-bit ADC (0..4095) */
	bool    lo_plus; /* true when LO+ high (lead attached) */
	bool    lo_minus;
};

/** Initialize GPIO (SDN high) and ADC channel. Call once at boot. */
int walkeeg_adc_init(void);

/** Blocking single conversion; returns 0 on success. */
int walkeeg_adc_read(struct walkeeg_adc_sample *s);

/** Sample timer callback hook (from stream module), 500 Hz. */
void walkeeg_adc_tick(void);

#endif /* WALKEEG_ADC_SAMPLE_H_ */
```

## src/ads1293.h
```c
/*
 * WalkEEG TI ADS1293 3-channel ECG AFE driver (SPI).
 *
 * Hardware notes (nRF52840, SPI1):
 *   - SCLK  P1.00  (SPIM1 SCK)
 *   - MOSI  P1.01  (SPIM1 MOSI -> ADS1293 SDI)
 *   - MISO  P1.02  (SPIM1 MISO <- ADS1293 SDO)
 *   - CS    P1.03  (GPIO, active low)
 *   - DRDY  P1.04  (GPIO input, active-low data-ready interrupt)
 *   - RESET P1.05  (GPIO output, active low, optional)
 *
 * These pins do NOT overlap the AD8232 interface:
 *   AD8232: AIN0=P0.02, LO+=P1.13, LO-=P1.15, SDN=P1.14
 *   UART:   RX=P0.12, TX=P0.13
 */
#ifndef WALKEEG_ADS1293_H_
#define WALKEEG_ADS1293_H_

#include <stdint.h>
#include <zephyr/devicetree.h>

/* Available only when enabled in Kconfig AND the board overlay defines
 * an ads1293 SPI node (nrf52840dk does). Other boards fall back to the
 * AD8232 SAADC path automatically. */
#if defined(CONFIG_WALKEEG_USE_ADS1293) && DT_NODE_EXISTS(DT_NODELABEL(ads1293))
#define WALKEEG_ADS1293_AVAILABLE 1
#else
#define WALKEEG_ADS1293_AVAILABLE 0
#endif

#define ADS1293_NUM_CH   3

/** One ADS1293 acquisition: 3 ECG channels + lead-off flags. */
struct ads1293_sample {
	uint32_t ch[ADS1293_NUM_CH]; /* raw 24-bit offset-binary code (0..0xFFFFFF) */
	uint8_t lod;                /* ERROR_LOD: bit0=IN1 ... bit5=IN6 (1 = lead off) */
};

/** Configure SPI/GPIO and program the ADS1293 registers. Call once at boot. */
int walkeeg_ads1293_init(void);

/** Wait for the next DRDY assertion (data ready). Returns 0 on success. */
int walkeeg_ads1293_wait(int32_t timeout_ms);

/** Blocking read of the latest 3-channel sample. Returns 0 on success. */
int walkeeg_ads1293_read(struct ads1293_sample *s);

/** Reconfigure the ADS1293 ODR to the nearest rate for 500/1000/2000/4000 Hz.
 *  Stops conversion, updates AFE_RES/R1/R2/R3, restarts, and drains stale DRDY.
 *  Returns 0 on success, -EINVAL for an unsupported request. */
int walkeeg_ads1293_set_rate(uint16_t hz);

/** Actual ADS1293 ODR after the last set_rate() (e.g. 533 for a 500 Hz request). */
uint16_t walkeeg_ads1293_get_odr(void);

#endif /* WALKEEG_ADS1293_H_ */
```

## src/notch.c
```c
/*
 * WalkEEG 50 Hz mains notch filter.
 *
 * Direct-form 2nd-order IIR notch (transfer function):
 *
 *        1 - 2*cos(w0) z^-1 + z^-2
 *   H(z) = --------------------------
 *        1 - 2*r*cos(w0) z^-1 + r^2 z^-2
 *
 *   w0 = 2*pi*F0/FS,  r = pole radius (0.99)
 *
 * Difference equation (b2 = 1, a1 defined POSITIVE):
 *   y[n] = x[n] + b1*x[n-1] + x[n-2] + a1*y[n-1] - a2*y[n-2]
 *   b1 = -2*cos(w0),  a1 = +2*r*cos(w0),  a2 = r^2
 *
 * NOTE: the a1 feedback term must be ADDED (positive feedback
 * keeps the poles at +-w0).  A sign error here moves the poles
 * to pi-w0 (~200 Hz) and turns the notch into a ~160x resonator.
 *
 * Float math runs on the Cortex-M4F FPU — negligible cost at 500 Hz.
 */

#include "notch.h"

#include <math.h>
#include <stdbool.h>

#define NOTCH_FS  500.0f
#define NOTCH_F0  50.0f
#define NOTCH_R   0.99f

static float b1, a1, a2;   /* coefficients (b2 = 1) */
static float x1, x2;       /* past inputs  */
static float y1, y2;       /* past outputs */
static bool  inited;
static bool  primed;       /* warm-up done */

static void notch_coeffs_init(void)
{
	float w0 = 2.0f * 3.14159265358979f * NOTCH_F0 / NOTCH_FS;
	float c  = cosf(w0);

	b1 = -2.0f * c;
	a1 =  2.0f * NOTCH_R * c;
	a2 =  NOTCH_R * NOTCH_R;
}

static void ensure_init(void)
{
	if (!inited) {
		notch_coeffs_init();
		inited = true;
	}
}

void notch_reset(void)
{
	ensure_init();
	x1 = x2 = y1 = y2 = 0.0f;
	primed = false;
}

int16_t notch_50hz(int16_t x)
{
	float xn = (float)x;
	float yn;

	ensure_init();

	if (!primed) {
		/* Warm-up: seed the filter with the first sample so the
		 * ~2.4 V DC baseline is not a step input (avoids start
		 * transient ringing).  With constant input the output
		 * stays ~x (DC gain ~1). */
		x1 = x2 = xn;
		y1 = y2 = xn;
		primed = true;
		return x;
	}

	yn = xn + b1 * x1 + x2 + a1 * y1 - a2 * y2;

	x2 = x1;
	x1 = xn;
	y2 = y1;
	y1 = yn;

	/* Clamp defensively (DC gain ~1, input 0..4095, so never hit). */
	if (yn > 32767.0f) {
		yn = 32767.0f;
	} else if (yn < -32768.0f) {
		yn = -32768.0f;
	}

	return (int16_t)yn;
}
```

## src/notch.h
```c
/*
 * WalkEEG 50 Hz mains notch filter (2nd-order IIR biquad).
 *
 * Sampling rate : 500 Hz  (WALKEEG_SAMPLE_HZ)
 * Notch freq    : 50 Hz   (China mains, coupled into ECG via body)
 * Pole radius   : 0.99    -> ~1.6 Hz notch bandwidth (Q ~ 30)
 *
 * Unity gain at DC and everywhere except a narrow band around 50 Hz,
 * so the 12-bit raw value range (0..4095) is preserved.
 *
 * Call notch_reset() when a streaming session starts.
 */
#ifndef WALKEEG_NOTCH_H_
#define WALKEEG_NOTCH_H_

#include <stdint.h>

/** Reset filter state (call on stream start / reconnect). */
void notch_reset(void);

/** Run one raw ADC sample through the 50 Hz notch filter. */
int16_t notch_50hz(int16_t x);

#endif /* WALKEEG_NOTCH_H_ */
```

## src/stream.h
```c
/*
 * WalkEEG AD8232 ECG stream over NUS.
 *  - 8-channel frame layout (App-compatible)
 *      default:          CH0 = AD8232, CH1 = sawtooth test, CH2..7 = 0
 *      ADS1293 only:     CH0/CH1 = Lead I/II, CH2 = AD8232 SAADC
 *      CONFIG_WALKEEG_DUAL_FRONTEND: CH0 = AD8232, CH1/CH2 = ADS1293 ECG1/2
 *  - Runtime frame rate: 500/1000/2000/4000 Hz (CH0 follows the timer;
 *    ADS1293 runs at the nearest ODR and is held between DRDY events)
 *  - lead-off flags in frame header
 */
#ifndef WALKEEG_STREAM_H_
#define WALKEEG_STREAM_H_

#include <zephyr/bluetooth/conn.h>
#include <stdbool.h>

#define WALKEEG_NUM_CH        8
#define WALKEEG_DEFAULT_SAMPLE_HZ 2000
#define WALKEEG_MAGIC         0xA5
#define WALKEEG_VERSION       0x01
#define WALKEEG_HDR_LEN       6
#define WALKEEG_DEFAULT_N     20
#define WALKEEG_MAX_N         30

/** Start sample timer + TX thread (call after BLE/NUS init). */
void walkeeg_stream_init(void);

/** BLE connected — request MTU/DLE and arm streaming when Notify enabled. */
void walkeeg_stream_on_connected(struct bt_conn *conn);

/** BLE disconnected — stop TX and reset ring. */
void walkeeg_stream_on_disconnected(void);

/** NUS TX CCCD changed (notifications enabled/disabled). */
void walkeeg_stream_set_notify(bool enabled);

/** Runtime sample rate: 500/1000/2000/4000 Hz. Returns 0 or -EINVAL. */
int walkeeg_stream_set_rate(uint16_t hz);
uint16_t walkeeg_stream_get_rate(void);

#endif /* WALKEEG_STREAM_H_ */
```
